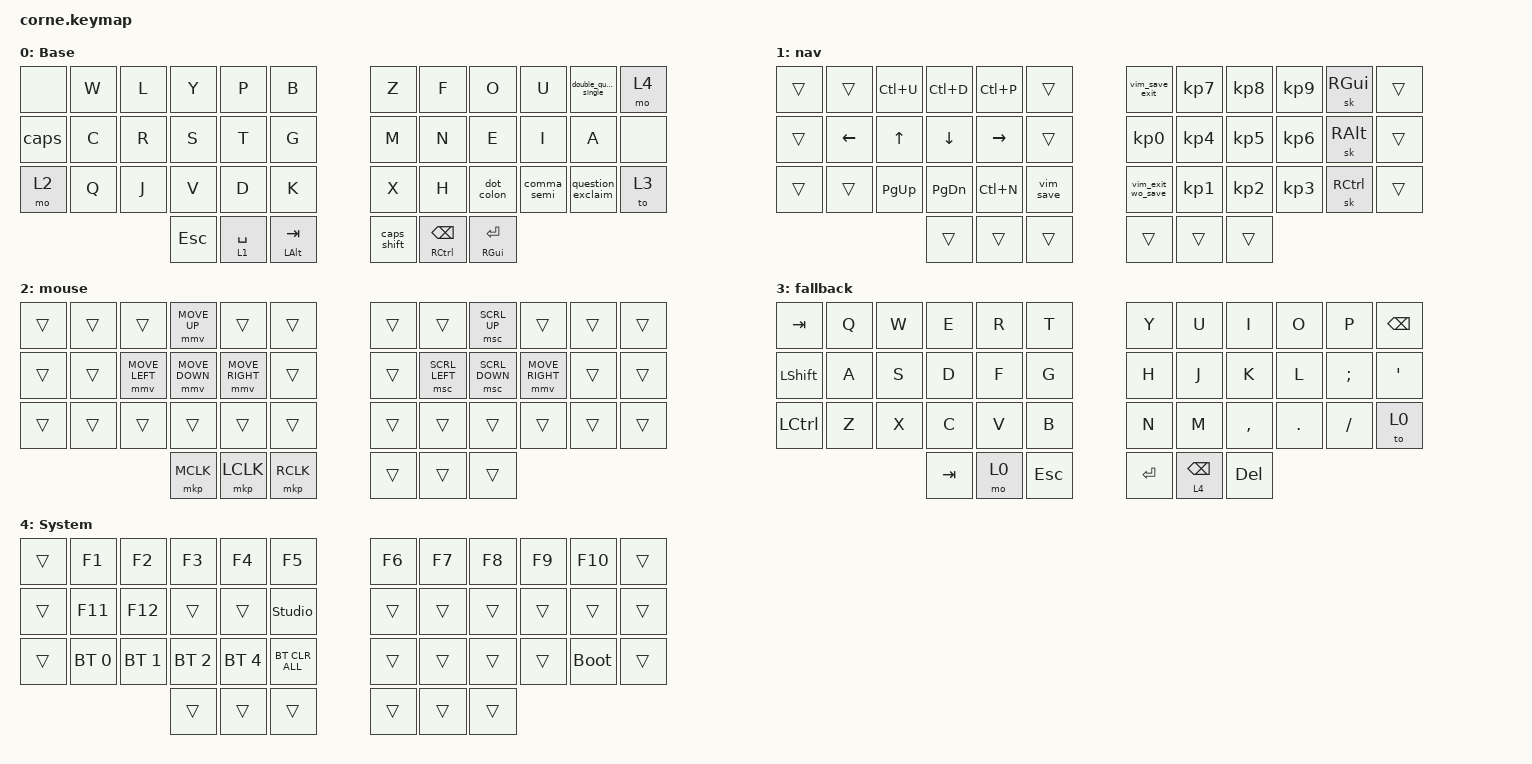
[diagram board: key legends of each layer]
#include <behaviors.dtsi>
#include <dt-bindings/zmk/bt.h>
#include <dt-bindings/zmk/keys.h>
#include <dt-bindings/zmk/pointing.h>

#define DEF 0
#define NAV 1
#define SYM 2
#define ADJ 3
#define EXTRA 4

/ {
    behaviors {
        caps: caps {
            compatible = "zmk,behavior-caps-word";
            label = "CAPS";
            #binding-cells = <0>;
            continue-list = <MINUS BACKSPACE>;
        };

        angle_great: angle_great {
            compatible = "zmk,behavior-mod-morph";
            label = "ANGLE_GREAT";
            bindings = <&kp GREATER_THAN>, <&kp RIGHT_BRACKET>;

            #binding-cells = <0>;
            mods = <(MOD_RSFT|MOD_LSFT)>;
        };

        angle_less: angle_less {
            compatible = "zmk,behavior-mod-morph";
            label = "ANGLE_LESS";
            bindings = <&kp LESS_THAN>, <&kp LEFT_BRACKET>;

            #binding-cells = <0>;
            mods = <(MOD_RSFT|MOD_LSFT)>;
        };

        equal_not: equal_not {
            compatible = "zmk,behavior-mod-morph";
            label = "EQUAL_NOT";
            bindings = <&kp EQUAL>, <&kp EXCLAMATION>;

            #binding-cells = <0>;
            mods = <(MOD_RSFT|MOD_LSFT)>;
        };

        under_super: under_super {
            compatible = "zmk,behavior-mod-morph";
            label = "UNDER_SUPER";
            bindings = <&kp UNDERSCORE>, <&kp CARET>;

            #binding-cells = <0>;
            mods = <(MOD_RSFT|MOD_LSFT)>;
        };

        minus_plus: minus_plus {
            compatible = "zmk,behavior-mod-morph";
            label = "MINUS_PLUS";
            bindings = <&kp KP_MINUS>, <&kp KP_PLUS>;

            #binding-cells = <0>;
            mods = <(MOD_RSFT|MOD_LSFT)>;
        };

        and_or: and_or {
            compatible = "zmk,behavior-mod-morph";
            label = "AND_OR";
            bindings = <&kp AMPERSAND>, <&kp PIPE>;

            #binding-cells = <0>;
            mods = <(MOD_RSFT|MOD_LSFT)>;
        };

        at_percent: at_percent {
            compatible = "zmk,behavior-mod-morph";
            label = "AT_PERCENT";
            bindings = <&kp AT_SIGN>, <&kp PERCENT>;

            #binding-cells = <0>;
            mods = <(MOD_RSFT|MOD_LSFT)>;
        };

        div_mul: div_mul {
            compatible = "zmk,behavior-mod-morph";
            label = "DIV_MUL";
            bindings = <&kp KP_DIVIDE>, <&kp KP_ASTERISK>;

            #binding-cells = <0>;
            mods = <(MOD_LSFT|MOD_RSFT)>;
        };

        hash_dollar: hash_dollar {
            compatible = "zmk,behavior-mod-morph";
            label = "HASH_DOLLAR";
            bindings = <&kp POUND>, <&kp DOLLAR>;

            #binding-cells = <0>;
            mods = <(MOD_RSFT|MOD_LSFT)>;
        };

        dot_colon: dot_colon {
            compatible = "zmk,behavior-mod-morph";
            label = "DOT_COLON";
            bindings = <&kp KP_DOT>, <&kp COLON>;

            #binding-cells = <0>;
            mods = <(MOD_LSFT|MOD_RSFT)>;
        };

        comma_semi: comma_semi {
            compatible = "zmk,behavior-mod-morph";
            label = "COMMA_SEMI";
            bindings = <&kp COMMA>, <&kp SEMICOLON>;

            #binding-cells = <0>;
            mods = <(MOD_LSFT|MOD_RSFT)>;
        };

        question_exclaim: question_exclaim {
            compatible = "zmk,behavior-mod-morph";
            label = "QUESTION_EXCLAIM";
            bindings = <&kp QUESTION>, <&kp EXCLAMATION>;

            #binding-cells = <0>;
            mods = <(MOD_LSFT|MOD_RSFT)>;
        };

        double_quote_single: double_quote_single {
            compatible = "zmk,behavior-mod-morph";
            label = "DOUBLE_QUOTE_SINGLE";
            bindings = <&kp DOUBLE_QUOTES>, <&kp SINGLE_QUOTE>;

            #binding-cells = <0>;
            mods = <(MOD_LSFT|MOD_RSFT)>;
        };

        caps_shift: caps_shift {
            compatible = "zmk,behavior-tap-dance";
            label = "CAPS_SHIFT";
            #binding-cells = <0>;
            bindings = <&caps_sticky RIGHT_SHIFT>, <&caps_word>;

            tapping-term-ms = <280>;
        };

        backspace: backspace {
            compatible = "zmk,behavior-hold-tap";
            label = "BACKSPACE";
            bindings = <&kp>, <&kp>;

            #binding-cells = <2>;
            tapping-term-ms = <280>;
            quick-tap-ms = <230>;
            flavor = "balanced";
        };

        space: space {
            compatible = "zmk,behavior-hold-tap";
            label = "SPACE";
            bindings = <&mo>, <&kp>;

            #binding-cells = <2>;
            tapping-term-ms = <280>;
            quick-tap-ms = <230>;
            flavor = "balanced";
        };

        caps_sticky: caps_sticky {
            compatible = "zmk,behavior-sticky-key";
            label = "CAPS_STICKY";
            bindings = <&kp>;
            #binding-cells = <1>;
            release-after-ms = <5000>;
        };
    };

    macros {
        vim_save: vim_save {
            compatible = "zmk,behavior-macro";
            #binding-cells = <0>;
            bindings = <&kp COLON &kp W &kp ENTER>;
            label = "VIM_SAVE";
        };

        vim_save_exit: vim_save_exit {
            compatible = "zmk,behavior-macro";
            #binding-cells = <0>;
            bindings = <&kp COLON &kp W &kp Q &kp A &kp ENTER>;
            label = "VIM_SAVE_EXIT";
        };

        vim_exit_wo_save: vim_exit_wo_save {
            compatible = "zmk,behavior-macro";
            #binding-cells = <0>;
            bindings = <&kp LS(Z) &kp LS(Q)>;
            label = "VIM_EXIT_WO_SAVE";
        };
    };

    combos {
        compatible = "zmk,combos";

        combo_fslash {
            bindings = <&div_mul>;
            key-positions = <8 19>;
            timeout-ms = <60>;
        };

        combo_bslask {
            bindings = <&kp BACKSLASH>;
            key-positions = <8 21>;
            timeout-ms = <60>;
        };

        r_brack {
            bindings = <&kp LEFT_PARENTHESIS>;
            key-positions = <16 15>;
            timeout-ms = <60>;
        };

        r_brack_l {
            bindings = <&kp RIGHT_PARENTHESIS>;
            key-positions = <19 20>;
            timeout-ms = <60>;
        };

        a_brack {
            bindings = <&angle_less>;
            key-positions = <27 28>;
            timeout-ms = <60>;
        };

        a_brack_l {
            bindings = <&angle_great>;
            key-positions = <31 32>;
            timeout-ms = <60>;
        };

        c_bracket {
            bindings = <&kp LEFT_BRACE>;
            key-positions = <3 4>;
            timeout-ms = <60>;
        };

        c_brack_l {
            bindings = <&kp RIGHT_BRACE>;
            key-positions = <7 8>;
            timeout-ms = <60>;
        };

        equality {
            bindings = <&equal_not>;
            key-positions = <8 9>;
            timeout-ms = <60>;
        };

        combo_minus {
            bindings = <&minus_plus>;
            key-positions = <20 21>;
            timeout-ms = <60>;
        };

        combo_underscore {
            bindings = <&under_super>;
            key-positions = <33 32>;
            timeout-ms = <60>;
        };

        combo_and_or {
            bindings = <&at_percent>;
            key-positions = <14 15>;
            timeout-ms = <60>;
        };

        combo_at_percent {
            bindings = <&and_or>;
            key-positions = <2 3>;
            timeout-ms = <60>;
        };

        combo_hash_dollar {
            bindings = <&hash_dollar>;
            key-positions = <26 27>;
            timeout-ms = <60>;
        };

        grave_tidle {
            bindings = <&kp GRAVE>;
            key-positions = <3 16>;
            timeout-ms = <60>;
        };
    };

    //

    keymap {
        compatible = "zmk,keymap";

        Base {
            display-name = "Base";

            // -----------------------------------------------------------------------------------------
            // |  Q  |  W  |  E  |  R  |  T  |   |  Y  |  U   |  I  |  O  |  P  |
            // |  A  |  S  |  D  |  F  |  G  |   |  H  |  J   |  K  |  L  |  ;  |
            // |  Z  |  X  |  C  |  V  |  B  |   |  N  |  M   |  ,  |  .  |  /  |
            // | GUI | CTRL | SHFT | LWR | SPC |   | ENT | RSE  | BKSP | ALT | ESC |

            bindings = <
&none  &kp W  &kp L  &kp Y       &kp P           &kp B               &kp Z        &kp F                       &kp O                &kp U        &double_quote_single  &mo 4
&caps  &kp C  &kp R  &kp S       &kp T           &kp G               &kp M        &kp N                       &kp E                &kp I        &kp A                 &none
&mo 2  &kp Q  &kp J  &kp V       &kp D           &kp K               &kp X        &kp H                       &dot_colon           &comma_semi  &question_exclaim     &to 3
                     &kp ESCAPE  &space 1 SPACE  &mt LEFT_ALT TAB    &caps_shift  &backspace RCTRL BACKSPACE  &mt RIGHT_GUI ENTER
            >;
        };

        nav {
            bindings = <
&trans  &trans          &kp LC(U)     &kp LC(D)      &kp LC(P)  &trans       &vim_save_exit     &kp KP_NUMBER_7  &kp KP_NUMBER_8  &kp KP_NUMBER_9  &sk RIGHT_GUI      &trans
&trans  &kp LEFT_ARROW  &kp UP_ARROW  &kp DOWN       &kp RIGHT  &trans       &kp KP_NUMBER_0    &kp KP_NUMBER_4  &kp KP_NUMBER_5  &kp KP_NUMBER_6  &sk RIGHT_ALT      &trans
&trans  &trans          &kp PAGE_UP   &kp PAGE_DOWN  &kp LC(N)  &vim_save    &vim_exit_wo_save  &kp KP_NUMBER_1  &kp KP_NUMBER_2  &kp KP_NUMBER_3  &sk RIGHT_CONTROL  &trans
                                      &trans         &trans     &trans       &trans             &trans           &trans
            >;

            label = "nav";
        };

        mouse {
            bindings = <
&trans  &trans  &trans          &mmv MOVE_UP    &trans           &trans       &trans  &trans          &msc SCRL_UP    &trans           &trans  &trans
&trans  &trans  &mmv MOVE_LEFT  &mmv MOVE_DOWN  &mmv MOVE_RIGHT  &trans       &trans  &msc SCRL_LEFT  &msc SCRL_DOWN  &mmv MOVE_RIGHT  &trans  &trans
&trans  &trans  &trans          &trans          &trans           &trans       &trans  &trans          &trans          &trans           &trans  &trans
                                &mkp MCLK       &mkp LCLK        &mkp RCLK    &trans  &trans          &trans
            >;

            label = "mouse";
        };

        qwerty {
            display-name = "fallback";
            bindings = <
&kp TAB    &kp Q  &kp W  &kp E    &kp R  &kp T         &kp Y    &kp U            &kp I      &kp O    &kp P     &kp BACKSPACE
&kp LSHFT  &kp A  &kp S  &kp D    &kp F  &kp G         &kp H    &kp J            &kp K      &kp L    &kp SEMI  &kp SQT
&kp LCTRL  &kp Z  &kp X  &kp C    &kp V  &kp B         &kp N    &kp M            &kp COMMA  &kp DOT  &kp FSLH  &to 0
                         &kp TAB  &mo 0  &kp ESCAPE    &kp RET  &lt 4 BACKSPACE  &kp DEL
            >;
        };

        SYS {
            display-name = "System";
            bindings = <
&trans  &kp F1        &kp F2        &kp F3        &kp F4        &kp F5            &kp F6  &kp F7  &kp F8  &kp F9  &kp F10      &trans
&trans  &kp F11       &kp F12       &trans        &trans        &studio_unlock    &trans  &trans  &trans  &trans  &trans       &trans
&trans  &bt BT_SEL 0  &bt BT_SEL 1  &bt BT_SEL 2  &bt BT_SEL 4  &bt BT_CLR_ALL    &trans  &trans  &trans  &trans  &bootloader  &trans
                                    &trans        &trans        &trans            &trans  &trans  &trans
            >;
        };
    };

    conditional_layers { compatible = "zmk,conditional-layers"; };
};
